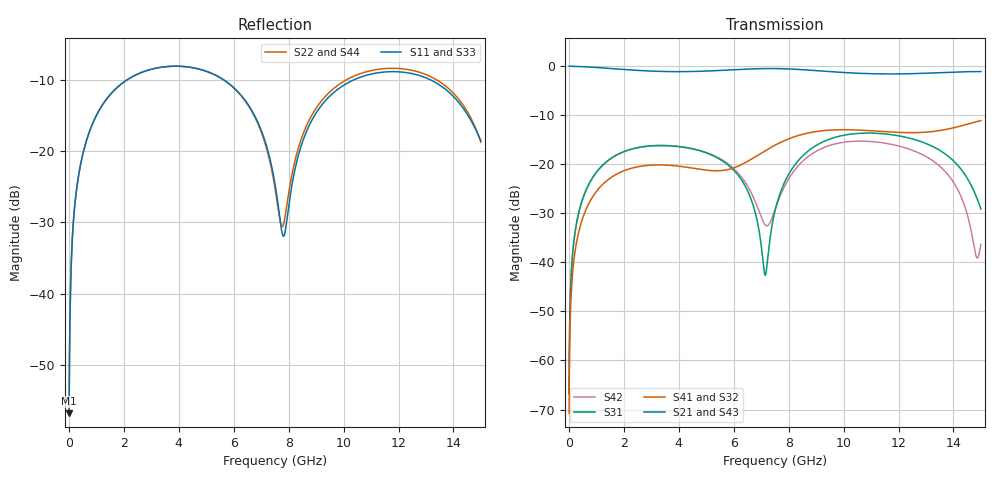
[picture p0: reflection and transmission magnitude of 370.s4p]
! Created with skrf 1.8.0 (http://scikit-rf.org).
# GHz S RI R 50.0
!freq ReS11 ImS11 ReS12 ImS12 ReS13 ImS13
! ReS14 ImS14
! ReS21 ImS21 ReS22 ImS22 ReS23 ImS23
! ReS24 ImS24
! ReS31 ImS31 ReS32 ImS32 ReS33 ImS33
! ReS34 ImS34
! ReS41 ImS41 ReS42 ImS42 ReS43 ImS43
! ReS44 ImS44
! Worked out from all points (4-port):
!   2499 points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, 5 MHz to 15 GHz, reference 50 ohm
!   strongest paths, dB at 5 MHz, 3.476 GHz, 7.19 GHz, 11.1 GHz, 15 GHz:
!     S21: 0.0, -1.1, -0.5, -1.6, -1.1
!     S43: 0.0, -1.1, -0.5, -1.6, -1.1
!     S41: -70.8, -20.2, -17.1, -13.2, -11.1
!     S32: -70.8, -20.2, -17.1, -13.2, -11.1
!     S31: -66.8, -16.2, -41.5, -13.7, -29.1
!     S42: -66.8, -16.2, -32.5, -15.4, -36.3
!   lowest |S11| = -56.8 dB at 5 MHz (marker M1), VSWR 1.00, Z = 50.1 + j0.0881 ohm
!   |S11| at or under -10 dB: start of sweep to 2.114 GHz; 5.638 GHz to 10.37 GHz (4.733 GHz wide, 59.1 % of centre); 13.17 GHz to end of sweep
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0.005  0.00116 0.000879  0.9988 -0.00225  5.66e-05 0.000453  -5.5e-05 -0.000284
       0.9988 -0.00225  0.00116 0.000879  -5.5e-05 -0.000284  5.66e-05 0.000453
       5.66e-05 0.000453  -5.5e-05 -0.000284  0.00116 0.000879  0.9988 -0.00225
       -5.5e-05 -0.000284  5.66e-05 0.000453  0.9988 -0.00225  0.00116 0.000879
0.4626928  0.0242 0.0846  0.9664 -0.2059  0.0115 0.0396  -0.00955 -0.0245
           0.9664 -0.2059  0.0242 0.0846  -0.00955 -0.0245  0.0115 0.0396
           0.0115 0.0396  -0.00955 -0.0245  0.0242 0.0846  0.9664 -0.2059
           -0.00955 -0.0245  0.0115 0.0396  0.9664 -0.2059  0.0242 0.0846
2.325969  0.2857 0.1736  0.5141 -0.7519  0.1324 0.0561  -0.0918 -0.000153
          0.5141 -0.7519  0.2858 0.1735  -0.0918 -0.000159  0.1326 0.0557
          0.1324 0.0561  -0.0918 -0.000159  0.2857 0.1737  0.5141 -0.7519
          -0.0918 -0.000153  0.1326 0.0557  0.5141 -0.7519  0.2859 0.1735
7.146728  0.0523 -0.1041  -0.8898 -0.3149  0.00738 0.000364  -0.0415 0.131
          -0.8898 -0.3149  0.0538 -0.0989  -0.0414 0.131  -0.0222 -0.0094
          0.00738 0.000364  -0.0414 0.131  0.0531 -0.1053  -0.8896 -0.315
          -0.0415 0.131  -0.0222 -0.0094  -0.8896 -0.315  0.054 -0.1003
7.934556  0.0273 0.0184  -0.9376 0.0016  0.0332 0.065  0.00668 0.1782
          -0.9376 0.0016  0.0328 0.0261  0.00677 0.1781  -0.00855 0.0654
          0.0332 0.065  0.00677 0.1781  0.0279 0.0169  -0.9376 0.00149
          0.00668 0.1782  -0.00855 0.0654  -0.9376 0.00149  0.0323 0.0247
10.49187  0.2949 0.133  -0.4503 0.7172  0.2053 -0.0138  0.2162 0.0554
          -0.4503 0.7172  0.3201 0.1236  0.2158 0.0552  0.1663 0.043
          0.2053 -0.0138  0.2158 0.0552  0.2954 0.1306  -0.4498 0.7177
          0.2162 0.0554  0.1663 0.043  -0.4498 0.7177  0.3187 0.1247
15  0.0899 -0.0767  0.8063 0.3521  -0.0311 -0.0162  0.1039 -0.2588
    0.8063 0.3521  0.0558 -0.1011  0.1056 -0.2583  -0.012 0.00955
    -0.0311 -0.0162  0.1056 -0.2583  0.0818 -0.0813  0.8071 0.3502
    0.1039 -0.2588  -0.012 0.00955  0.8071 0.3502  0.0643 -0.0988
